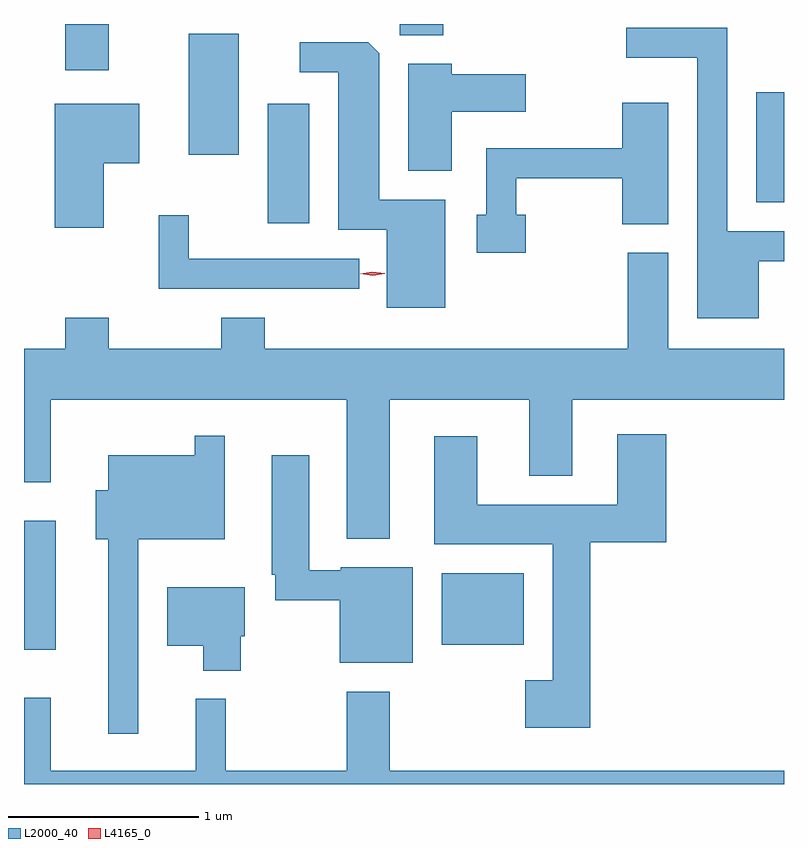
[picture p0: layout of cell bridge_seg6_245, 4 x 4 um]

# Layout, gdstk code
import gdstk
lib = gdstk.Library(unit=1e-6, precision=1e-09)
def R(c, l, rs):  # rectangles x0, y0, x1, y1
    for r in rs: c.add(gdstk.rectangle(r[:2], r[2:], *l))
def P(c, l, *ps):  # polygons
    for p in ps: c.add(gdstk.Polygon(p, *l))
L2000_40 = (2000, 40)
L4165_0 = (4165, 0)

bridge_seg6_245 = lib.new_cell('bridge_seg6_245')
R(bridge_seg6_245, L2000_40, [(1415.013,1588.681,1415.179,1589.359), (1417.211,1588.706,1417.644,1589.084), (1416.296,1590.926,1416.514,1591.554), (1418.866,1591.036,1419.013,1591.614), (1415.881,1591.286,1416.144,1591.924), (1415.231,1591.731,1415.459,1591.974), (1416.991,1591.916,1417.219,1591.974)])
P(bridge_seg6_245, L2000_40, [(1418.879,1590.726),(1419.013,1590.726),(1419.013,1590.884),(1418.714,1590.884),(1418.714,1591.954),(1418.183,1591.954),(1418.183,1591.796),(1418.556,1591.796),(1418.556,1590.426),(1418.879,1590.426)],
  [(1417.229,1591.049),(1416.884,1591.049),(1416.884,1591.819),(1416.824,1591.879),(1416.463,1591.879),(1416.463,1591.721),(1416.666,1591.721),(1416.666,1590.891),(1416.921,1590.891),(1416.921,1590.481),(1417.229,1590.481)],
  [(1417.264,1591.511),(1417.654,1591.511),(1417.654,1591.709),(1417.264,1591.709),(1417.264,1591.764),(1417.036,1591.764),(1417.036,1591.201),(1417.264,1591.201)],
  [(1417.654,1590.969),(1417.604,1590.969),(1417.604,1591.161),(1418.161,1591.161),(1418.161,1590.921),(1418.404,1590.921),(1418.404,1591.559),(1418.161,1591.559),(1418.161,1591.319),(1417.446,1591.319),(1417.446,1590.969),(1417.396,1590.969),(1417.396,1590.771),(1417.654,1590.771)],
  [(1415.434,1591.241),(1415.619,1591.241),(1415.619,1591.554),(1415.176,1591.554),(1415.176,1590.901),(1415.434,1590.901)],
  [(1416.778,1590.739),(1415.879,1590.739),(1415.879,1590.968),(1415.721,1590.968),(1415.721,1590.581),(1416.778,1590.581)],
  [(1416.939,1589.996),(1417.671,1589.996),(1417.671,1589.596),(1417.899,1589.596),(1417.899,1589.996),(1419.013,1589.996),(1419.013,1590.264),(1418.404,1590.264),(1418.404,1590.769),(1418.191,1590.769),(1418.191,1590.264),(1416.279,1590.264),(1416.279,1590.429),(1416.051,1590.429),(1416.051,1590.264),(1415.459,1590.264),(1415.459,1590.429),(1415.231,1590.429),(1415.231,1590.264),(1415.013,1590.264),(1415.013,1589.563),(1415.154,1589.563),(1415.154,1589.996),(1416.711,1589.996),(1416.711,1589.266),(1416.939,1589.266)],
  [(1417.994,1589.246),(1418.394,1589.246),(1418.394,1589.814),(1418.136,1589.814),(1418.136,1589.444),(1417.399,1589.444),(1417.399,1589.804),(1417.171,1589.804),(1417.171,1589.236),(1417.796,1589.236),(1417.796,1588.519),(1417.651,1588.519),(1417.651,1588.271),(1417.994,1588.271)],
  [(1415.614,1589.261),(1416.069,1589.261),(1416.069,1589.808),(1415.911,1589.808),(1415.911,1589.704),(1415.456,1589.704),(1415.456,1589.519),(1415.391,1589.519),(1415.391,1589.261),(1415.456,1589.261),(1415.456,1588.238),(1415.614,1588.238)],
  [(1417.059,1589.114),(1416.68,1589.114),(1416.68,1589.099),(1416.514,1589.099),(1416.514,1589.704),(1416.316,1589.704),(1416.316,1589.076),(1416.336,1589.076),(1416.336,1588.941),(1416.676,1588.941),(1416.676,1588.611),(1417.059,1588.611)],
  [(1416.154,1588.751),(1416.174,1588.751),(1416.174,1589.009),(1415.766,1589.009),(1415.766,1588.701),(1415.956,1588.701),(1415.956,1588.571),(1416.154,1588.571)],
  [(1419.013,1588.044),(1416.939,1588.044),(1416.939,1588.459),(1416.711,1588.459),(1416.711,1588.044),(1416.074,1588.044),(1416.074,1588.423),(1415.916,1588.423),(1415.916,1588.044),(1415.154,1588.044),(1415.154,1588.428),(1415.013,1588.428),(1415.013,1587.974),(1419.013,1587.974)])
P(bridge_seg6_245, L4165_0, [(1416.848,1590.65),(1416.783,1590.659),(1416.782,1590.66),(1416.783,1590.66),(1416.847,1590.67),(1416.912,1590.661),(1416.912,1590.66),(1416.912,1590.66)])

lib.write_gds('bridge_seg6_245.gds')
